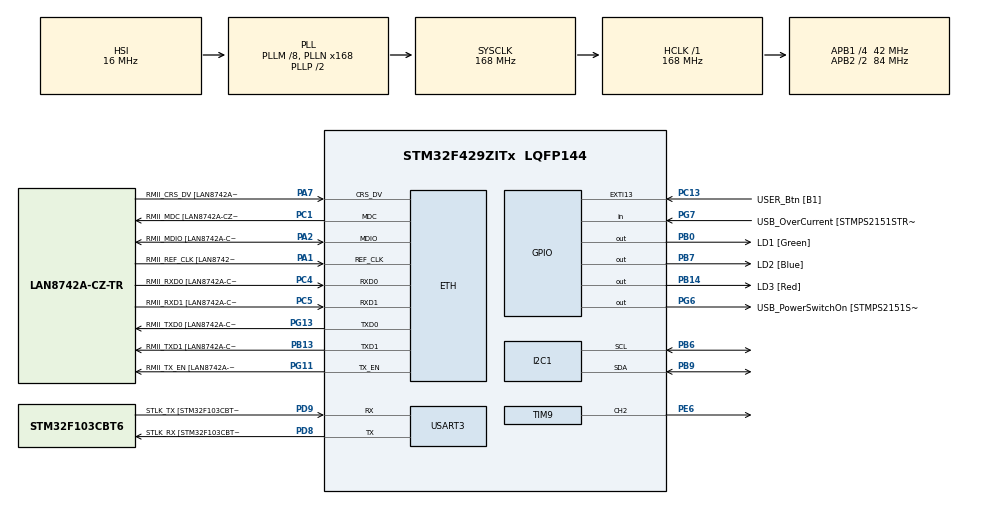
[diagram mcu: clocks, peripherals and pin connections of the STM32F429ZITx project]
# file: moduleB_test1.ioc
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ETH.MediaInterface=HAL_ETH_RMII_MODE
ETH.PHY_Name=LAN8742A_PHY_ADDRESS
ETH.PHY_Value=0
ETH.PhyAddress=0
Mcu.Family=STM32F4
Mcu.Name=STM32F429ZITx
Mcu.Package=LQFP144
NVIC.PriorityGroup=NVIC_PRIORITYGROUP_4
PA1.GPIO_Label=RMII_REF_CLK [LAN8742A-CZ-TR_REFCLK0]
PA1.Mode=RMII
PA1.Signal=ETH_REF_CLK
PA10.GPIO_Label=USB_ID
PA10.Signal=USB_OTG_FS_ID
PA11.GPIO_Label=USB_DM
PA11.Signal=USB_OTG_FS_DM
PA12.GPIO_Label=USB_DP
PA12.Signal=USB_OTG_FS_DP
PA13.GPIO_Label=TMS
PA13.Mode=Serial_Wire
PA13.Signal=SYS_JTMS-SWDIO
PA14.GPIO_Label=TCK
PA14.Mode=Serial_Wire
PA14.Signal=SYS_JTCK-SWCLK
PA2.GPIO_Label=RMII_MDIO [LAN8742A-CZ-TR_MDIO]
PA2.Mode=RMII
PA2.Signal=ETH_MDIO
PA7.GPIO_Label=RMII_CRS_DV [LAN8742A-CZ-TR_CRS_DV]
PA7.Mode=RMII
PA7.Signal=ETH_CRS_DV
PA8.GPIO_Label=USB_SOF [TP1]
PA8.Signal=USB_OTG_FS_SOF
PA9.GPIO_Label=USB_VBUS
PA9.Signal=USB_OTG_FS_VBUS
PB0.GPIO_Label=LD1 [Green]
PB0.Signal=GPIO_Output
PB13.GPIO_Label=RMII_TXD1 [LAN8742A-CZ-TR_TXD1]
PB13.Mode=RMII
PB13.Signal=ETH_TXD1
PB14.GPIO_Label=LD3 [Red]
PB14.Signal=GPIO_Output
PB6.Mode=I2C
PB6.Signal=I2C1_SCL
PB7.GPIO_Label=LD2 [Blue]
PB7.Signal=GPIO_Output
PB9.Mode=I2C
PB9.Signal=I2C1_SDA
PC1.GPIO_Label=RMII_MDC [LAN8742A-CZ-TR_MDC]
PC1.Mode=RMII
PC1.Signal=ETH_MDC
PC13.GPIO_Label=USER_Btn [B1]
PC13.Signal=GPXTI13
PC14/OSC32_IN.Mode=LSE-External-Oscillator
PC14/OSC32_IN.Signal=RCC_OSC32_IN
PC15/OSC32_OUT.Mode=LSE-External-Oscillator
PC15/OSC32_OUT.Signal=RCC_OSC32_OUT
PC4.GPIO_Label=RMII_RXD0 [LAN8742A-CZ-TR_RXD0]
PC4.Mode=RMII
PC4.Signal=ETH_RXD0
PC5.GPIO_Label=RMII_RXD1 [LAN8742A-CZ-TR_RXD1]
PC5.Mode=RMII
PC5.Signal=ETH_RXD1
PD8.GPIO_Label=STLK_RX [STM32F103CBT6_PA3]
PD8.Mode=Asynchronous
PD8.Signal=USART3_TX
PD9.GPIO_Label=STLK_TX [STM32F103CBT6_PA2]
PD9.Mode=Asynchronous
PD9.Signal=USART3_RX
PE6.Signal=S_TIM9_CH2
PG11.GPIO_Label=RMII_TX_EN [LAN8742A-CZ-TR_TXEN]
PG11.Mode=RMII
PG11.Signal=ETH_TX_EN
PG13.GPIO_Label=RMII_TXD0 [LAN8742A-CZ-TR_TXD0]
PG13.Mode=RMII
PG13.Signal=ETH_TXD0
PG6.GPIO_Label=USB_PowerSwitchOn [STMPS2151STR_EN]
PG6.Signal=GPIO_Output
PG7.GPIO_Label=USB_OverCurrent [STMPS2151STR_FAULT]
PG7.Signal=GPIO_Input
PH0/OSC_IN.GPIO_Label=MCO [STM32F103CBT6_PA8]
PH0/OSC_IN.Mode=HSE-External-Clock-Source
PH0/OSC_IN.Signal=RCC_OSC_IN
PH1/OSC_OUT.Mode=HSE-External-Clock-Source
PH1/OSC_OUT.Signal=RCC_OSC_OUT
ProjectManager.HeapSize=0x200
ProjectManager.StackSize=0x400
ProjectManager.TargetToolchain=STM32CubeIDE
RCC.48MHZClocksFreq_Value=48000000
RCC.AHBFreq_Value=168000000
RCC.APB1CLKDivider=RCC_HCLK_DIV4
RCC.APB1Freq_Value=42000000
RCC.APB1TimFreq_Value=84000000
RCC.APB2CLKDivider=RCC_HCLK_DIV2
RCC.APB2Freq_Value=84000000
RCC.APB2TimCLKDivider=2
RCC.APB2TimFreq_Value=168000000
RCC.CortexFreq_Value=168000000
RCC.HCLKFreq_Value=168000000
RCC.HSE_VALUE=8000000
RCC.HSI_VALUE=16000000
RCC.PLLM=8
RCC.PLLMUL=RCC_PLL_MUL9
RCC.PLLN=168
RCC.PLLQ=7
RCC.PRESCALERUSB=RCC_USBCLKSOURCE_PLL_DIV1_5
RCC.SYSCLKFreq_VALUE=168000000
RCC.SYSCLKSource=RCC_SYSCLKSOURCE_PLLCLK
RCC.SYSCLKSourceVirtual=RCC_SYSCLKSOURCE_PLLCLK
RCC.USBFreq_Value=48000000
RCC.VCOOutputFreq_Value=336000000
SH.S_TIM9_CH2.0=TIM9_CH2,PWM Generation2 CH2
TIM9.Channel-PWM\ Generation2\ CH2=TIM_CHANNEL_2
TIM9.Period=999
TIM9.Prescaler=83
USART3.VirtualMode=VM_ASYNC
board=NUCLEO-F429ZI

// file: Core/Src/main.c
/* USER CODE BEGIN Header */
/**
  ******************************************************************************
  * @file           : main.c
  * @brief          : Main program body
  ******************************************************************************
  * @attention
  *
  * Copyright (c) 2026 STMicroelectronics.
  * All rights reserved.
  *
  * This software is licensed under terms that can be found in the LICENSE file
  * in the root directory of this software component.
  * If no LICENSE file comes with this software, it is provided AS-IS.
  *
  ******************************************************************************
  */
/* USER CODE END Header */
#include "main.h"
#include "string.h"

/* USER CODE BEGIN Includes */
#include "uart3.h"

#include "shared.h"
#include "lm75.h"
#include "motor.h"
#include "temperature.h"
#include "control.h"
#include "can.h"
/* USER CODE END Includes */

ETH_TxPacketConfig TxConfig;
ETH_DMADescTypeDef  DMARxDscrTab[ETH_RX_DESC_CNT]; /* Ethernet Rx DMA Descriptors */
ETH_DMADescTypeDef  DMATxDscrTab[ETH_TX_DESC_CNT]; /* Ethernet Tx DMA Descriptors */

ETH_HandleTypeDef heth;

I2C_HandleTypeDef hi2c1;

TIM_HandleTypeDef htim9;

UART_HandleTypeDef huart3;

void SystemClock_Config(void);
static void MX_GPIO_Init(void);
static void MX_ETH_Init(void);
static void MX_I2C1_Init(void);
static void MX_USART3_UART_Init(void);
static void MX_TIM9_Init(void);

/* USER CODE BEGIN 0 */
float temperature1;
float temperature2;

/* USER CODE END 0 */

int main(void)
{

  /* MCU Configuration--------------------------------------------------------*/

  /* Reset of all peripherals, Initializes the Flash interface and the Systick. */
  HAL_Init();

  /* Configure the system clock */
  SystemClock_Config();

  /* Initialize all configured peripherals */
  MX_GPIO_Init();
  MX_ETH_Init();
  MX_I2C1_Init();
  MX_USART3_UART_Init();
  MX_TIM9_Init();
  /* USER CODE BEGIN 2 */
  CAN_Init();

  LM75_Init(&hi2c1);  // LM75 드라이버에 I2C 핸들 등록

  Fan_Init();  // Fan 타이머 및 제어 초기화
  Peltier_Init();  // Peltier 타이머 및 제어 초기화

  // 테스트용 초기 설정값
  sys_data.input.target_temp = 15.0f;  // 목표 온도 설정
  sys_data.input.peltier_en = 1;  // 펠티어 제어 활성화 플래그 기본값 세팅 (1: 허용)

  // (추가) 초기 조건문을 타지 않는 애매한 온도일 때의 기본 상태 지정
  sys_data.state = STATE_INIT;
  sys_data.output.fan = 300;  // 어떤 조건도 안 맞으면 일단 30% 속도로 대기구동
  sys_data.output.peltier = 0;  // 펠티어는 안전하게 OFF로 시작

  // 초기 상태를 하드웨어에 즉시 반영
  Fan_SetDuty(sys_data.output.fan);
  Peltier_SetDuty(sys_data.output.peltier);

  /* USER CODE END 2 */

  /* Infinite loop */
  while (1)
  {

      /* USER CODE BEGIN 3 */

      int16_t received_target_x10;
      int16_t current_temp_x10;

      /*
       * 1. 온도 센서 갱신
       */
      Temperature_Task();

      /*
       * 2. Base에서 0x174 목표온도를 새로 받았으면
       *    Module B 제어 목표온도에 반영
       */
      if (CAN_ModuleB_TakeTargetTempX10(&received_target_x10) != 0U)
      {
          sys_data.input.target_temp =
              (float)received_target_x10 / 10.0f;

          sys_data.input.peltier_en = 1U;
      }

      /*
       * 3. 목표온도 기준으로 펠티어/팬 제어
       */
      Control_Task();

      /*
       * 4. 현재 냉각부 온도를 x10 정수로 변환해서 Base에 전송
       *    인증 전이면 내부적으로 0x110 announce
       *    인증 후이면 내부적으로 0x173 temperature 전송
       */
      current_temp_x10 = (int16_t)(sys_data.temp.cold * 10.0f);

      CAN_ModuleB_Process(current_temp_x10);

      /*
       * 5. 디버그 출력
       */
      static uint32_t last_tick = 0U;

      if ((HAL_GetTick() - last_tick) >= 1000U)
      {
          last_tick = HAL_GetTick();

          HAL_GPIO_TogglePin(GPIOB, GPIO_PIN_7);

          int cold_int = (int)sys_data.temp.cold;
          int cold_dec = (int)(sys_data.temp.cold * 10.0f) % 10;
          if (cold_dec < 0)
          {
              cold_dec = -cold_dec;
          }

          int hot_int = (int)sys_data.temp.hot;
          int hot_dec = (int)(sys_data.temp.hot * 10.0f) % 10;
          if (hot_dec < 0)
          {
              hot_dec = -hot_dec;
          }

          int target_int = (int)sys_data.input.target_temp;
          int target_dec = (int)(sys_data.input.target_temp * 10.0f) % 10;
          if (target_dec < 0)
          {
              target_dec = -target_dec;
          }

          Uart3_Printf("[STATE:%d] Cold:%d.%d C, Hot:%d.%d C | Target:%d.%d C | CAN:%d\r\n",
              sys_data.state,
              cold_int,
              cold_dec,
              hot_int,
              hot_dec,
              target_int,
              target_dec,
              CAN_ModuleB_GetLinkState());
      }

      HAL_Delay(100);
  }
  /* USER CODE END 3 */
}

void SystemClock_Config(void)
{
  RCC_OscInitTypeDef RCC_OscInitStruct = {0};
  RCC_ClkInitTypeDef RCC_ClkInitStruct = {0};

  /** Configure the main internal regulator output voltage
  */
  __HAL_RCC_PWR_CLK_ENABLE();
  __HAL_PWR_VOLTAGESCALING_CONFIG(PWR_REGULATOR_VOLTAGE_SCALE1);

  /** Initializes the RCC Oscillators according to the specified parameters
  * in the RCC_OscInitTypeDef structure.
  */
  RCC_OscInitStruct.OscillatorType = RCC_OSCILLATORTYPE_HSI;
  RCC_OscInitStruct.HSIState = RCC_HSI_ON;
  RCC_OscInitStruct.HSICalibrationValue = RCC_HSICALIBRATION_DEFAULT;
  RCC_OscInitStruct.PLL.PLLState = RCC_PLL_ON;
  RCC_OscInitStruct.PLL.PLLSource = RCC_PLLSOURCE_HSI;
  RCC_OscInitStruct.PLL.PLLM = 8;
  RCC_OscInitStruct.PLL.PLLN = 168;
  RCC_OscInitStruct.PLL.PLLP = RCC_PLLP_DIV2;
  RCC_OscInitStruct.PLL.PLLQ = 7;
  if (HAL_RCC_OscConfig(&RCC_OscInitStruct) != HAL_OK)
  {
    Error_Handler();
  }

  /** Initializes the CPU, AHB and APB buses clocks
  */
  RCC_ClkInitStruct.ClockType = RCC_CLOCKTYPE_HCLK|RCC_CLOCKTYPE_SYSCLK
                              |RCC_CLOCKTYPE_PCLK1|RCC_CLOCKTYPE_PCLK2;
  RCC_ClkInitStruct.SYSCLKSource = RCC_SYSCLKSOURCE_PLLCLK;
  RCC_ClkInitStruct.AHBCLKDivider = RCC_SYSCLK_DIV1;
  RCC_ClkInitStruct.APB1CLKDivider = RCC_HCLK_DIV4;
  RCC_ClkInitStruct.APB2CLKDivider = RCC_HCLK_DIV2;

  if (HAL_RCC_ClockConfig(&RCC_ClkInitStruct, FLASH_LATENCY_5) != HAL_OK)
  {
    Error_Handler();
  }
}

static void MX_ETH_Init(void)
{

   static uint8_t MACAddr[6];

  heth.Instance = ETH;
  MACAddr[0] = 0x00;
  MACAddr[1] = 0x80;
  MACAddr[2] = 0xE1;
  MACAddr[3] = 0x00;
  MACAddr[4] = 0x00;
  MACAddr[5] = 0x00;
  heth.Init.MACAddr = &MACAddr[0];
  heth.Init.MediaInterface = HAL_ETH_RMII_MODE;
  heth.Init.TxDesc = DMATxDscrTab;
  heth.Init.RxDesc = DMARxDscrTab;
  heth.Init.RxBuffLen = 1524;

  if (HAL_ETH_Init(&heth) != HAL_OK)
  {
    Error_Handler();
  }

  memset(&TxConfig, 0 , sizeof(ETH_TxPacketConfig));
  TxConfig.Attributes = ETH_TX_PACKETS_FEATURES_CSUM | ETH_TX_PACKETS_FEATURES_CRCPAD;
  TxConfig.ChecksumCtrl = ETH_CHECKSUM_IPHDR_PAYLOAD_INSERT_PHDR_CALC;
  TxConfig.CRCPadCtrl = ETH_CRC_PAD_INSERT;

}

static void MX_I2C1_Init(void)
{

  hi2c1.Instance = I2C1;
  hi2c1.Init.ClockSpeed = 100000;
  hi2c1.Init.DutyCycle = I2C_DUTYCYCLE_2;
  hi2c1.Init.OwnAddress1 = 0;
  hi2c1.Init.AddressingMode = I2C_ADDRESSINGMODE_7BIT;
  hi2c1.Init.DualAddressMode = I2C_DUALADDRESS_DISABLE;
  hi2c1.Init.OwnAddress2 = 0;
  hi2c1.Init.GeneralCallMode = I2C_GENERALCALL_DISABLE;
  hi2c1.Init.NoStretchMode = I2C_NOSTRETCH_DISABLE;
  if (HAL_I2C_Init(&hi2c1) != HAL_OK)
  {
    Error_Handler();
  }

  /** Configure Analogue filter
  */
  if (HAL_I2CEx_ConfigAnalogFilter(&hi2c1, I2C_ANALOGFILTER_ENABLE) != HAL_OK)
  {
    Error_Handler();
  }

  /** Configure Digital filter
  */
  if (HAL_I2CEx_ConfigDigitalFilter(&hi2c1, 0) != HAL_OK)
  {
    Error_Handler();
  }

}

static void MX_TIM9_Init(void)
{

  TIM_OC_InitTypeDef sConfigOC = {0};

  htim9.Instance = TIM9;
  htim9.Init.Prescaler = 83;
  htim9.Init.CounterMode = TIM_COUNTERMODE_UP;
  htim9.Init.Period = 999;
  htim9.Init.ClockDivision = TIM_CLOCKDIVISION_DIV1;
  htim9.Init.AutoReloadPreload = TIM_AUTORELOAD_PRELOAD_DISABLE;
  if (HAL_TIM_PWM_Init(&htim9) != HAL_OK)
  {
    Error_Handler();
  }
  sConfigOC.OCMode = TIM_OCMODE_PWM1;
  sConfigOC.Pulse = 0;
  sConfigOC.OCPolarity = TIM_OCPOLARITY_HIGH;
  sConfigOC.OCFastMode = TIM_OCFAST_DISABLE;
  if (HAL_TIM_PWM_ConfigChannel(&htim9, &sConfigOC, TIM_CHANNEL_2) != HAL_OK)
  {
    Error_Handler();
  }
  HAL_TIM_MspPostInit(&htim9);

}

static void MX_USART3_UART_Init(void)
{

  huart3.Instance = USART3;
  huart3.Init.BaudRate = 115200;
  huart3.Init.WordLength = UART_WORDLENGTH_8B;
  huart3.Init.StopBits = UART_STOPBITS_1;
  huart3.Init.Parity = UART_PARITY_NONE;
  huart3.Init.Mode = UART_MODE_TX_RX;
  huart3.Init.HwFlowCtl = UART_HWCONTROL_NONE;
  huart3.Init.OverSampling = UART_OVERSAMPLING_16;
  if (HAL_UART_Init(&huart3) != HAL_OK)
  {
    Error_Handler();
  }

}

static void MX_GPIO_Init(void)
{
  GPIO_InitTypeDef GPIO_InitStruct = {0};

  /* GPIO Ports Clock Enable */
  __HAL_RCC_GPIOE_CLK_ENABLE();
  __HAL_RCC_GPIOC_CLK_ENABLE();
  __HAL_RCC_GPIOH_CLK_ENABLE();
  __HAL_RCC_GPIOA_CLK_ENABLE();
  __HAL_RCC_GPIOB_CLK_ENABLE();
  __HAL_RCC_GPIOD_CLK_ENABLE();
  __HAL_RCC_GPIOG_CLK_ENABLE();

  /*Configure GPIO pin Output Level */
  HAL_GPIO_WritePin(GPIOB, LD1_Pin|LD3_Pin|LD2_Pin, GPIO_PIN_RESET);

  /*Configure GPIO pin Output Level */
  HAL_GPIO_WritePin(USB_PowerSwitchOn_GPIO_Port, USB_PowerSwitchOn_Pin, GPIO_PIN_RESET);

  /*Configure GPIO pin : USER_Btn_Pin */
  GPIO_InitStruct.Pin = USER_Btn_Pin;
  GPIO_InitStruct.Mode = GPIO_MODE_IT_RISING;
  GPIO_InitStruct.Pull = GPIO_NOPULL;
  HAL_GPIO_Init(USER_Btn_GPIO_Port, &GPIO_InitStruct);

  /*Configure GPIO pins : LD1_Pin LD3_Pin LD2_Pin */
  GPIO_InitStruct.Pin = LD1_Pin|LD3_Pin|LD2_Pin;
  GPIO_InitStruct.Mode = GPIO_MODE_OUTPUT_PP;
  GPIO_InitStruct.Pull = GPIO_NOPULL;
  GPIO_InitStruct.Speed = GPIO_SPEED_FREQ_LOW;
  HAL_GPIO_Init(GPIOB, &GPIO_InitStruct);

  /*Configure GPIO pin : USB_PowerSwitchOn_Pin */
  GPIO_InitStruct.Pin = USB_PowerSwitchOn_Pin;
  GPIO_InitStruct.Mode = GPIO_MODE_OUTPUT_PP;
  GPIO_InitStruct.Pull = GPIO_NOPULL;
  GPIO_InitStruct.Speed = GPIO_SPEED_FREQ_LOW;
  HAL_GPIO_Init(USB_PowerSwitchOn_GPIO_Port, &GPIO_InitStruct);

  /*Configure GPIO pin : USB_OverCurrent_Pin */
  GPIO_InitStruct.Pin = USB_OverCurrent_Pin;
  GPIO_InitStruct.Mode = GPIO_MODE_INPUT;
  GPIO_InitStruct.Pull = GPIO_NOPULL;
  HAL_GPIO_Init(USB_OverCurrent_GPIO_Port, &GPIO_InitStruct);

  /*Configure GPIO pins : USB_SOF_Pin USB_ID_Pin USB_DM_Pin USB_DP_Pin */
  GPIO_InitStruct.Pin = USB_SOF_Pin|USB_ID_Pin|USB_DM_Pin|USB_DP_Pin;
  GPIO_InitStruct.Mode = GPIO_MODE_AF_PP;
  GPIO_InitStruct.Pull = GPIO_NOPULL;
  GPIO_InitStruct.Speed = GPIO_SPEED_FREQ_VERY_HIGH;
  GPIO_InitStruct.Alternate = GPIO_AF10_OTG_FS;
  HAL_GPIO_Init(GPIOA, &GPIO_InitStruct);

  /*Configure GPIO pin : USB_VBUS_Pin */
  GPIO_InitStruct.Pin = USB_VBUS_Pin;
  GPIO_InitStruct.Mode = GPIO_MODE_INPUT;
  GPIO_InitStruct.Pull = GPIO_NOPULL;
  HAL_GPIO_Init(USB_VBUS_GPIO_Port, &GPIO_InitStruct);

}

void Error_Handler(void)
{
  __disable_irq();
  while (1)
  {
  }
}
